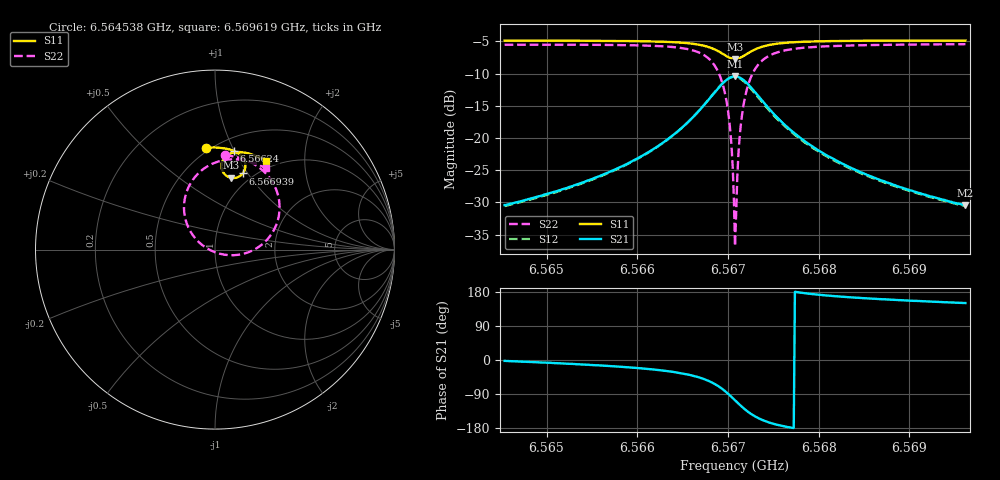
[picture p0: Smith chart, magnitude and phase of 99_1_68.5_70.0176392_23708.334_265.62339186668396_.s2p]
#  HZ  S  RI  R  50.00
! Rohde & Schwarz Vector Network Analyzer
! Rohde-Schwarz,ZNB20-2Port,1311601062101988,3.16
! Created: UTC 3/20/2024, 4:52:58 PM
! freq[Hz]  re:S11  im:S11  re:S21  im:S21  re:S12  im:S12  re:S22  im:S22
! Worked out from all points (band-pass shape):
!   401 points, 6.564538 GHz to 6.569619 GHz, reference 50 ohm
!   highest |S21| = -10.45 dB at 6.567078 GHz (marker M1); lowest = -30.5 dB at 6.569619 GHz (marker M2)
!   |S21| within 3 dB of the highest: 6.566824 GHz to 6.567332 GHz (508.3 kHz wide, 0.00774 % of centre)
!   lowest |S11| = -7.7 dB at 6.567078 GHz (marker M3), VSWR 2.39, Z = 41.9 + j40.3 ohm
!   |S11| at or under -10 dB: nowhere
!   |S22| runs from -36.8 to -5.4 dB; largest |S21 - S12| = 0.015
!   S11 on the Smith chart (normalised r, x): 6.564538 GHz: 0.48, +0.80; 6.56624 GHz: 0.62, +1.00; 6.566939 GHz: 0.89, +0.95; 6.569619 GHz: 0.89, +1.31
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6.5645381e9  -0.048 0.5674  0.0301 -0.00126  0.0295 -0.00171  0.0546 0.5262
6.5653891e9  0.0228 0.5676  0.0439 -0.00925  0.0431 -0.00981  0.1386 0.5102
6.5662401e9  0.1052 0.5496  0.0783 -0.0393  0.077 -0.04  0.2594 0.4469
6.5665323e9  0.1406 0.5275  0.1017 -0.0766  0.1 -0.078  0.3222 0.3731
6.5667355e9  0.1647 0.4928  0.1149 -0.1377  0.112 -0.1406  0.359 0.2547
6.5668498e9  0.1687 0.458  0.1029 -0.1987  0.0978 -0.2027  0.3416 0.1385
6.5669388e9  0.1548 0.4245  0.0618 -0.2563  0.0525 -0.2596  0.265 0.0313
6.5669769e9  0.1414 0.4114  0.0304 -0.2777  0.0191 -0.2793  0.2065 -0.00631
6.567015e9  0.1235 0.4021  -0.00894 -0.2913  -0.0221 -0.2906  0.1336 -0.0285
6.5670404e9  0.1094 0.399  -0.0385 -0.2946  -0.0521 -0.2916  0.08 -0.0312
6.5670658e9  0.0948 0.399  -0.0691 -0.292  -0.0825 -0.2864  0.0257 -0.0229
6.5670785e9  0.0875 0.4003  -0.0842 -0.2883  -0.0972 -0.2815  -0.000484 -0.0144
6.5670912e9  0.0804 0.4024  -0.0986 -0.2832  -0.1112 -0.2753  -0.0257 -0.00344
6.5671039e9  0.0737 0.4052  -0.1125 -0.2767  -0.1244 -0.2678  -0.0495 0.00992
6.5671293e9  0.0613 0.4129  -0.1378 -0.2601  -0.1482 -0.2493  -0.0912 0.0428
6.5671674e9  0.0474 0.428  -0.1673 -0.2287  -0.1743 -0.2164  -0.1375 0.1023
6.5672182e9  0.0376 0.4514  -0.1894 -0.1828  -0.1925 -0.17  -0.1683 0.1862
6.5672817e9  0.0372 0.4784  -0.1951 -0.13  -0.1948 -0.1191  -0.1692 0.2785
6.5675104e9  0.0749 0.5299  -0.1495 -0.0295  -0.1462 -0.0247  -0.0664 0.4478
6.5679295e9  0.1379 0.5435  -0.0857 0.00912  -0.0835 0.0103  0.0754 0.502
6.5687806e9  0.22 0.525  -0.0415 0.0156  -0.0406 0.0159  0.2073 0.4861
6.5696189e9  0.2834 0.4959  -0.026 0.0148  -0.0255 0.015  0.2843 0.4524
